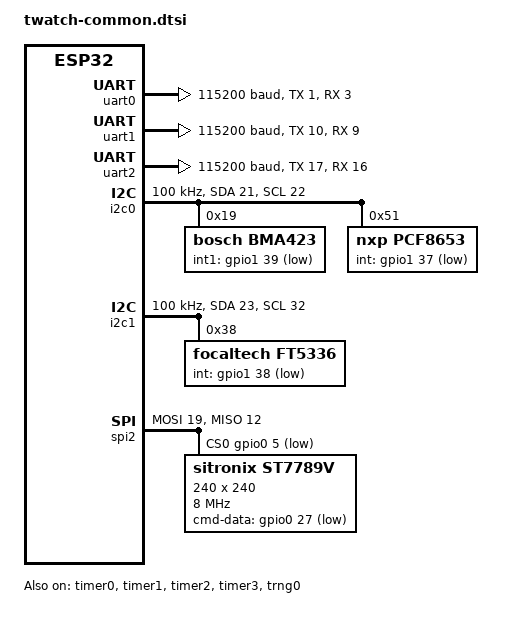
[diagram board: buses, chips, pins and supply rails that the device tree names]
/*
 * Copyright (c) 2022 Qinsong Gou <gouqs@hotmail.com>
 *
 * SPDX-License-Identifier: Apache-2.0
 */

#include <espressif/esp32.dtsi>

&cpu0 {
	clock-frequency = <ESP32_CLK_CPU_240M>;
};

&cpu1 {
	clock-frequency = <ESP32_CLK_CPU_240M>;
};

&uart0 {
	status = "okay";
	current-speed = <115200>;
	tx-pin = <1>;
	rx-pin = <3>;
};

&uart1 {
	current-speed = <115200>;
	tx-pin = <10>;
	rx-pin = <9>;
};

&uart2 {
	current-speed = <115200>;
	tx-pin = <17>;
	rx-pin = <16>;
};

&gpio0 {
	status = "okay";
};

&gpio1 {
	status = "okay";
};

&i2c0 {
	status = "okay";
	clock-frequency = <I2C_BITRATE_STANDARD>;
	sda-pin = <21>;
	scl-pin = <22>;

	bma423: bma423@19 {
		compatible = "bosch,bma423";
		reg = <0x19>;
		label = "BMA423";
		int1-gpios = <&gpio1 39 GPIO_ACTIVE_LOW>;
	};
	pcf8653: pcf8653@51 {
		compatible = "nxp,pcf8653";
		reg = <0x51>;
		label = "PCF8653";
		int-gpios = <&gpio1 37 GPIO_ACTIVE_LOW>;
	};
};

&i2c1 {
	status = "okay";
	clock-frequency = <I2C_BITRATE_STANDARD>;
	sda-pin = <23>;
	scl-pin = <32>;

	ft5336: ft5336@38 {
		compatible = "focaltech,ft5336";
		reg = <0x38>;
		label = "FT5336";
		int-gpios = <&gpio1 38 GPIO_ACTIVE_LOW>;
	};
};

&spi2 {
	#address-cells = <1>;
	#size-cells = <0>;
	status = "okay";
	miso-pin = <12>;
	mosi-pin = <19>;
	sclk-pin = <18>;
	csel-pin = <5>;

	cs-gpios = <&gpio0 5 GPIO_ACTIVE_LOW>;

	st7789v: st7789v@0 {
		compatible = "sitronix,st7789v";
		reg = <0>;
		spi-max-frequency = <8000000>; /* 8MHz */
		label = "ST7789V";
		cmd-data-gpios = <&gpio0 27 GPIO_ACTIVE_LOW>;   /* DET */
		width = <240>;
		height = <240>;
		x-offset = <0>;
		y-offset = <0>;
		vcom = <0x19>;
		gctrl = <0x35>;
		vrhs = <0x12>;
		vdvs = <0x20>;
		mdac = <0x00>;
		gamma = <0x01>;
		colmod = <0x05>;
		lcm = <0x2c>;
		porch-param = [0c 0c 00 33 33];
		cmd2en-param = [5a 69 02 01];
		pwctrl1-param = [a4 a1];
		pvgam-param = [D0 04 0D 11 13 2B 3F 54 4C 18 0D 0B 1F 23];
		nvgam-param = [D0 04 0C 11 13 2C 3F 44 51 2F 1F 1F 20 23];
		ram-param = [00 F0];
		rgb-param = [CD 08 14];
	};
};

&timer0 {
	status = "okay";
};

&timer1 {
	status = "okay";
};

&timer2 {
	status = "okay";
};

&timer3 {
	status = "okay";
};

&trng0 {
	status = "okay";
};

&flash0 {
	status = "okay";
	partitions {
		compatible = "fixed-partitions";
		#address-cells = <1>;
		#size-cells = <1>;

		/* Reserve 60kB for the bootloader */
		boot_partition: partition@1000 {
			label = "mcuboot";
			reg = <0x00001000 0x0000F000>;
			read-only;
		};

		/* Reserve 1024kB for the application in slot 0 */
		slot0_partition: partition@10000 {
			label = "image-0";
			reg = <0x00010000 0x00100000>;
		};

		/* Reserve 1024kB for the application in slot 1 */
		slot1_partition: partition@110000 {
			label = "image-1";
			reg = <0x00110000 0x00100000>;
		};

		/* Reserve 256kB for the scratch partition */
		scratch_partition: partition@210000 {
			   label = "image-scratch";
			   reg = <0x00210000 0x00040000>;
		};

		storage_partition: partition@250000 {
			label = "storage";
			reg = <0x00250000 0x00006000>;
		};
	};
};
